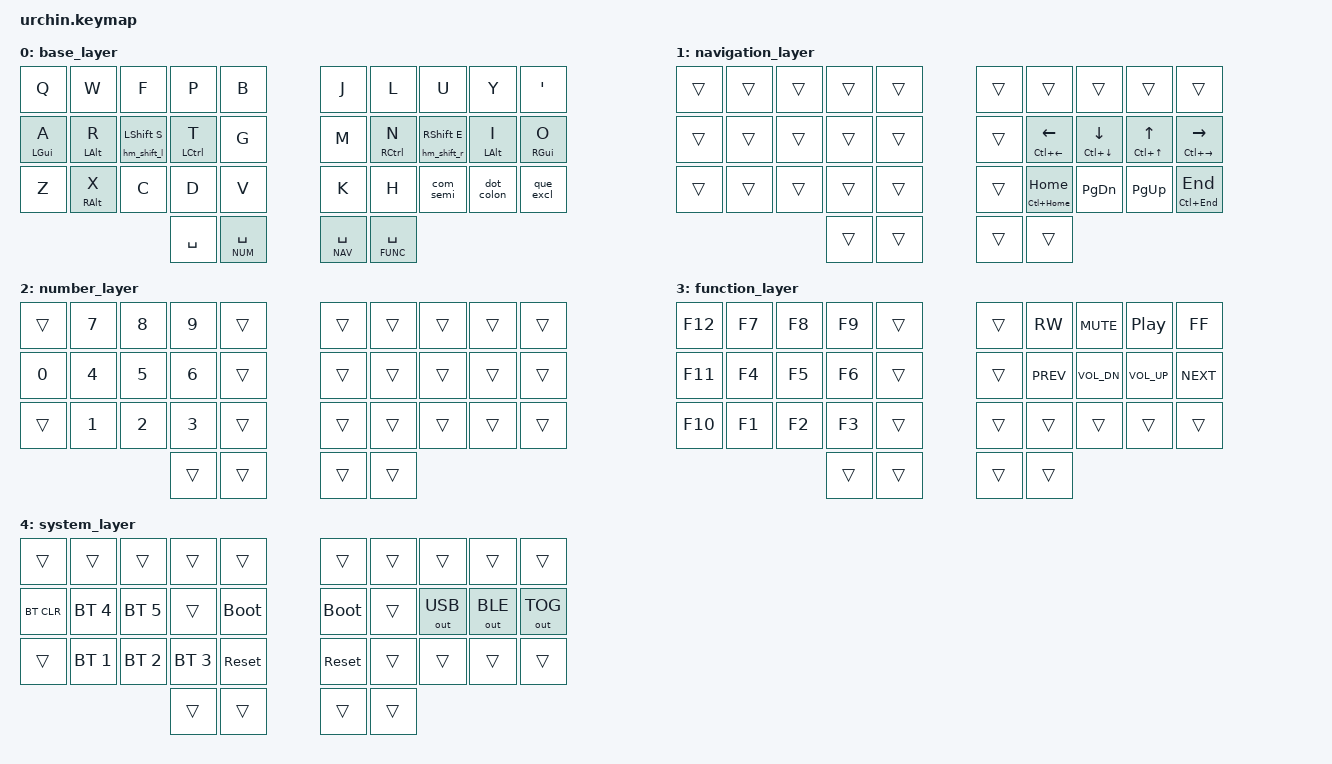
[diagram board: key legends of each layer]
#include <behaviors.dtsi>
#include <dt-bindings/zmk/keys.h>
#include <dt-bindings/zmk/bt.h>
#include <dt-bindings/zmk/outputs.h>

#include "urchin-behaviors.dtsi"
#include "urchin-combos.dtsi"

#define BASE 0
#define NAV 1
#define NUM 2
#define FUNC 3
#define SYS 4

#define ACT_NAV &lt NAV SPACE
#define ACT_NUM &lt NUM SPACE
#define ACT_FUNC &lt FUNC SPACE

#define GUI_A &hm_l LGUI A
#define ALT_R &hm_l LALT R
#define SFT_S &hm_shift_l LSHIFT S
#define CTL_T &hm_l LCTRL T
#define ALGR_X &hm_l RALT X
#define CTL_N &hm_r RCTRL N
#define SFT_E &hm_shift_r RSHIFT E
#define ALT_I &hm_r LALT I
#define GUI_O &hm_r RGUI O
#define ALGR_DT &dot_colon

#define NAV_LEFT &mt LC(LEFT) LEFT
#define NAV_DOWN &mt LC(DOWN) DOWN
#define NAV_UP &mt LC(UP) UP
#define NAV_RIGHT &mt LC(RIGHT) RIGHT
#define NAV_HOME &mt LC(HOME) HOME
#define NAV_END &mt LC(END) END

#define BT_1 &bt BT_SEL 1
#define BT_2 &bt BT_SEL 2
#define BT_3 &bt BT_SEL 3
#define BT_4 &bt BT_SEL 4
#define BT_5 &bt BT_SEL 5
#define BOOT &bootloader
#define RESET &sys_reset
#define SET_USB &out OUT_USB
#define SET_BT &out OUT_BLE
#define TOGGLE &out OUT_TOG

&lt {
  flavor = "balanced";
  tapping-term-ms = <150>;
};

/ {
  conditional_layers {
    compatible = "zmk,conditional-layers";
    tri_layer {
      if-layers = <NUM NAV>;
      then-layer = <SYS>;
    };
  };

  keymap {
    compatible = "zmk,keymap";
    base_layer {
      /* ┌────┬────┬────┬────┬────┐┌────┬────┬────┬────┬────┐
       * │  q │  w │  f │  p │  b ││  j │  l │  u │  y │  ' │
       * ├────┼────┼────┼────┼────┤├────┼────┼────┼────┼────┤
       * │  a │  r │  s │  t │  g ││  m │  n │  e │  i │  o │
       * ├────┼────┼────┼────┼────┤├────┼────┼────┼────┼────┤
       * │  z │  x │  c │  d │  v ││  k │  h │  , │  . │  ? │
       * └────┴────┴────┼────┼────┤├────┼────┼────┴────┴────┘
       *                │  ␣ │ NUM││ NAV│FUNC│
       *                └────┴────┘└────┴────┘
       */
      bindings = <
        &kp Q &kp W  &kp F &kp P &kp B &kp J &kp L &kp U     &kp Y   &kp APOS
        GUI_A ALT_R  SFT_S CTL_T &kp G &kp M CTL_N SFT_E     ALT_I   GUI_O
        &kp Z ALGR_X &kp C &kp D &kp V &kp K &kp H &com_semi ALGR_DT &que_excl
                           &kp SPC ACT_NUM ACT_NAV ACT_FUNC
      >;
    };

    navigation_layer {
      /* ┌────┬────┬────┬────┬────┐┌────┬────┬────┬────┬────┐
       * │    │    │    │    │    ││    │    │    │    │    │
       * ├────┼────┼────┼────┼────┤├────┼────┼────┼────┼────┤
       * │    │    │    │    │    ││    │  ← │  ↓ │  ↑ │  → │
       * ├────┼────┼────┼────┼────┤├────┼────┼────┼────┼────┤
       * │    │    │    │    │    ││    │  ⇤ │  ⤓ │  ⤒ │  ⇥ │
       * └────┴────┴────┼────┼────┤├────┼────┼────┴────┴────┘
       *                │    │    ││    │    │
       *                └────┴────┘└────┴────┘
       */
      bindings = <
        &trans &trans &trans &trans &trans &trans &trans   &trans    &trans    &trans
        &trans &trans &trans &trans &trans &trans NAV_LEFT NAV_DOWN  NAV_UP    NAV_RIGHT
        &trans &trans &trans &trans &trans &trans NAV_HOME &kp PG_DN &kp PG_UP NAV_END
                             &trans &trans &trans &trans
      >;
    };

    number_layer {
      /* ┌────┬────┬────┬────┬────┐┌────┬────┬────┬────┬────┐
       * │    │  7 │  8 │  9 │    ││    │    │    │    │    │
       * ├────┼────┼────┼────┼────┤├────┼────┼────┼────┼────┤
       * │  0 │  4 │  5 │  6 │    ││    │    │    │    │    │
       * ├────┼────┼────┼────┼────┤├────┼────┼────┼────┼────┤
       * │    │  1 │  2 │  3 │    ││    │    │    │    │    │
       * └────┴────┴────┼────┼────┤├────┼────┼────┴────┴────┘
       *                │    │    ││    │    │
       *                └────┴────┘└────┴────┘
       */
      bindings = <
        &trans &kp N7 &kp N8 &kp N9 &trans &trans &trans &trans &trans &trans
        &kp N0 &kp N4 &kp N5 &kp N6 &trans &trans &trans &trans &trans &trans
        &trans &kp N1 &kp N2 &kp N3 &trans &trans &trans &trans &trans &trans
                             &trans &trans &trans &trans
      >;
    };

    function_layer {
      /* ┌────┬────┬────┬────┬────┐┌────┬────┬────┬────┬────┐
       * │ F12│ F7 │ F8 │ F9 │    ││    │ RW │MUTE│ PAU│ FF │
       * ├────┼────┼────┼────┼────┤├────┼────┼────┼────┼────┤
       * │ F11│ F4 │ F5 │ F6 │    ││    │PREV│VOL↓│VOL↑│NEXT│
       * ├────┼────┼────┼────┼────┤├────┼────┼────┼────┼────┤
       * │ F10│ F1 │ F2 │ F3 │    ││    │    │    │    │    │
       * └────┴────┴────┼────┼────┤├────┼────┼────┴────┴────┘
       *                │    │    ││    │    │
       *                └────┴────┘└────┴────┘
       */
      bindings = <
        &kp F12 &kp F7 &kp F8 &kp F9 &trans &trans &kp C_RW   &kp C_MUTE   &kp C_PP     &kp C_FF
        &kp F11 &kp F4 &kp F5 &kp F6 &trans &trans &kp C_PREV &kp C_VOL_DN &kp C_VOL_UP &kp C_NEXT
        &kp F10 &kp F1 &kp F2 &kp F3 &trans &trans &trans     &trans       &trans       &trans
                              &trans &trans &trans &trans
      >;
    };

    system_layer {
      /* ┌────┬────┬────┬────┬────┐┌────┬────┬────┬────┬────┐
       * │    │    │    │    │    ││    │    │    │    │    │
       * ├────┼────┼────┼────┼────┤├────┼────┼────┼────┼────┤
       * │ BT✕│ BT4│ BT5│    │BOOT││BOOT│    │ USB│ BT │ TOG│
       * ├────┼────┼────┼────┼────┤├────┼────┼────┼────┼────┤
       * │    │ BT1│ BT2│ BT3│RSET││RSET│    │    │    │    │
       * └────┴────┴────┼────┼────┤├────┼────┼────┴────┴────┘
       *                │    │    ││    │    │
       *                └────┴────┘└────┴────┘
       */
      bindings = <
        &trans     &trans &trans &trans &trans &trans &trans &trans  &trans &trans
        &bt BT_CLR BT_4   BT_5   &trans BOOT   BOOT   &trans SET_USB SET_BT TOGGLE
        &trans     BT_1   BT_2   BT_3   RESET  RESET  &trans &trans  &trans &trans
                                 &trans &trans &trans &trans
      >;
    };
  };
};


